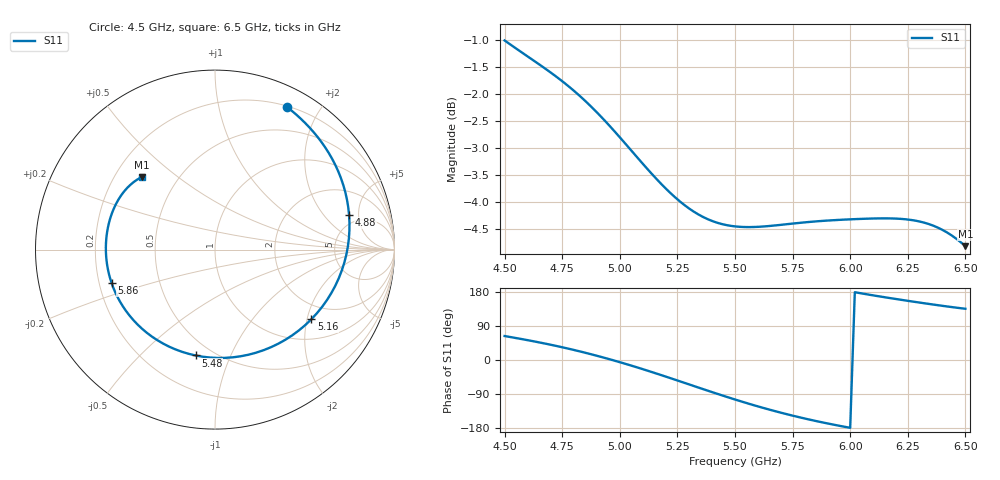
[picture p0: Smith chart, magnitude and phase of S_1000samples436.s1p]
! TOUCHSTONE file generated by CST MICROWAVE STUDIO
! Date and time: Fri Oct 28 04:19:09 2022
! Project name: L.cst
! Parameters = {Di=1.27; Epsilon_r=1.56; InnerDiameter=1.27; Length=2; Lf=10; Lg=60; OuterConductorThickness=0.2921; OuterDiameter=3.6; Wf=3; Wp=41.2; de=1.5; df=6.8; g=0.8; gx=2.46487; gy=0.846267; h=2.34; hf=1.524; px=11.0057; py=9.34831; w=9.7; wx=8.54082; wy=8.50205}
! Header version: 2018
! Port assignment regex: !\s*Touchstone port\s*([0-9]+)\s*=\s*(CST MWS port|CST DS port)\s*([0-9]+|Zmin|Zmax)\s*\(\"(.*)\"\)(\s*mode\s*([0-9]+))?.*
! Touchstone port assignment:
! Touchstone port 1 = CST MWS port 1 ("")
# GHz S DB R 50
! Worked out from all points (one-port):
!   101 points, 4.5 GHz to 6.5 GHz, reference 50 ohm
!   lowest |S11| = -4.8 dB at 6.5 GHz (marker M1), VSWR 3.70, Z = 15.6 + j18.9 ohm
!   |S11| at or under -10 dB: nowhere
!   S11 on the Smith chart (normalised r, x): 4.5 GHz: 0.21, +1.60; 4.88 GHz: 4.01, +3.81; 5.16 GHz: 1.53, -2.12; 5.48 GHz: 0.41, -0.75; 5.86 GHz: 0.25, -0.15; 6.5 GHz: 0.31, +0.38
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4.5  -1.01 63.2
4.58  -1.25 54.6
4.64  -1.42 47.7
4.76  -1.80 32.2
4.82  -2.01 23.6
4.88  -2.25 14.4
4.94  -2.52 4.6
5  -2.80 -5.7
5.08  -3.20 -20.4
5.16  -3.58 -35.9
5.22  -3.84 -47.9
5.26  -3.99 -56.1
5.32  -4.18 -68.4
5.36  -4.28 -76.5
5.42  -4.38 -88.6
5.48  -4.44 -100.4
5.5  -4.45 -104.2
5.56  -4.47 -115.4
5.64  -4.45 -129.4
5.7  -4.42 -139.1
5.76  -4.40 -148.3
5.86  -4.36 -162.1
5.92  -4.34 -169.7
6  -4.32 -178.9
6.12  -4.31 168.5
6.26  -4.33 155.3
6.38  -4.48 144.7
6.5  -4.82 135.2
